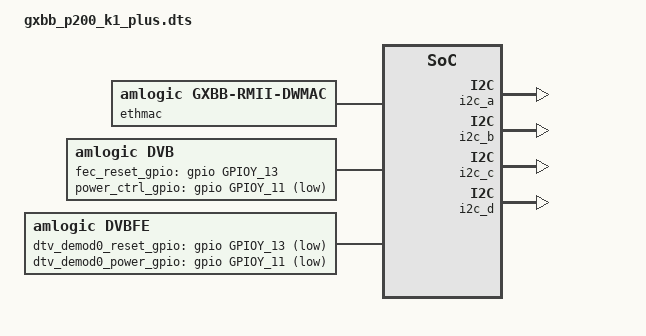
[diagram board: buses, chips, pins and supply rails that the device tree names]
#include "gxbb_p200.dts"

/{
	le-dt-id = "gxbb_p200_k1_plus";
	ethmac: ethernet@0xc9410000 {
		compatible = "amlogic, gxbb-rmii-dwmac";
		phy-mode= "rmii";
		mc_val = <0x1800>;
	};

	/delete-node/ bt-dev;

	wifi {
		irq_trigger_type = "GPIO_IRQ_HIGH";
		/delete-property/ dhd_static_buf;
		power_on_pin2 = <&gpio	   GPIOX_20	   GPIO_ACTIVE_HIGH>;
	};

	sdio {
		interrupts = <	0 216 4>;
	};

	dwc2_a {
		port-id-mode = <0>; /** 0: hardware, 1: sw_host, 2: sw_slave*/
		/delete-property/ gpio-vbus-power;
		/delete-property/ gpios;
	};

	dvb {
		compatible = "amlogic,dvb";
		dev_name = "dvb";
		status = "okay";
		fec_reset_gpio-gpios = <&gpio GPIOY_13 GPIO_ACTIVE_HIGH>;
		power_ctrl_gpio-gpios = <&gpio GPIOY_11 GPIO_ACTIVE_LOW>;
		//"parallel","serial","disable"
		ts0 = "parallel";
		ts0_control = <0>;
		ts0_invert = <0>;
		pinctrl-names = "p_ts0", "s_ts0";
		pinctrl-0 = <&dvb_p_ts0_pins>;
		pinctrl-1 = <&dvb_s_ts0_pins>;
		resets = <&clock GCLK_IDX_DEMUX
				&clock GCLK_IDX_ASYNC_FIFO
				&clock GCLK_IDX_AHB_ARB0
				&clock GCLK_IDX_HIU_PARSER_TOP>;
		reset-names = "demux", "asyncfifo", "ahbarb0", "uparsertop";
	};

	dvbfe {
		compatible = "amlogic,dvbfe";
		//dev_name = "avl6211";
		status = "okay";
		dtv_demod0 = "Avl6211";
		dtv_demod0_i2c_adap_id = <1>;
		dtv_demod0_i2c_addr = <0xC0>;
		dtv_demod0_reset_value = <0>;
		//dtv_demod0_reset_gpio = <&gpio GPIOY_13 GPIO_ACTIVE_HIGH>;
		dtv_demod0_reset_gpio-gpios = <&gpio GPIOY_13 GPIO_ACTIVE_LOW>;
		dtv_demod0_power_gpio-gpios = <&gpio GPIOY_11 GPIO_ACTIVE_LOW>;
		fe0_dtv_demod = <0>;
		fe0_ts = <0>;
		fe0_dev = <0>;
	};
};

&i2c_a {
	status = "okay";
};

&i2c_b {
	status = "okay";
};

&i2c_c {
	status = "okay";
};

&i2c_d {
	status = "okay";
};
 
&i2c_slave {
	status = "disabled";
};
custom_maps:custom_maps {
	mapnum = <1>;
	map0 = <&map_0>;
	map_0: map_0{
		mapname = "amlogic-remote-1";
		customcode = <0xff00>;
		release_delay = <80>;
		size  = <37>;
		keymap = <REMOTE_KEY(0x51, KEY_1)
			REMOTE_KEY(0x50, KEY_2)
			REMOTE_KEY(0x10, KEY_3)
			REMOTE_KEY(0x56, KEY_4)
			REMOTE_KEY(0x54, KEY_5)
			REMOTE_KEY(0x14, KEY_6)
			REMOTE_KEY(0x4e, KEY_7)
			REMOTE_KEY(0x4c, KEY_8)
			REMOTE_KEY(0x0c, KEY_9)
			REMOTE_KEY(0x11, KEY_0)
			REMOTE_KEY(0x45, KEY_MENU)
			REMOTE_KEY(0x55, KEY_CHANNELUP)
			REMOTE_KEY(0x15, KEY_CHANNELDOWN)
			REMOTE_KEY(0x13, KEY_VOLUMEUP)
			REMOTE_KEY(0x17, KEY_VOLUMEDOWN)
			REMOTE_KEY(0x0d, KEY_HOME)
			REMOTE_KEY(0x1b, KEY_RIGHT)
			REMOTE_KEY(0x5a, KEY_LEFT)
			REMOTE_KEY(0x06, KEY_UP)
			REMOTE_KEY(0x16, KEY_DOWN)
			REMOTE_KEY(0x1a, KEY_ENTER)
			REMOTE_KEY(0x19, KEY_MUTE)
			REMOTE_KEY(0x05, KEY_BACK)
			REMOTE_KEY(0x0e, KEY_INFO)
			REMOTE_KEY(0x44, KEY_X)           /* STOP*/
			REMOTE_KEY(0x59, KEY_POWER)
			REMOTE_KEY(0x4a, KEY_REWIND)
			REMOTE_KEY(0x48, KEY_FASTFORWARD)
			REMOTE_KEY(0x46, KEY_PLAYPAUSE)
			REMOTE_KEY(0x1f, KEY_FAVORITES)
			REMOTE_KEY(0x4d, KEY_EPG)
			REMOTE_KEY(0x01, KEY_SCROLLLOCK)
			REMOTE_KEY(0x51, KEY_FN_ESC)
			REMOTE_KEY(0x42, KEY_RED)
			REMOTE_KEY(0x40, KEY_GREEN)
			REMOTE_KEY(0x00, KEY_YELLOW)
			REMOTE_KEY(0x03, KEY_BLUE)>;
	};
};

